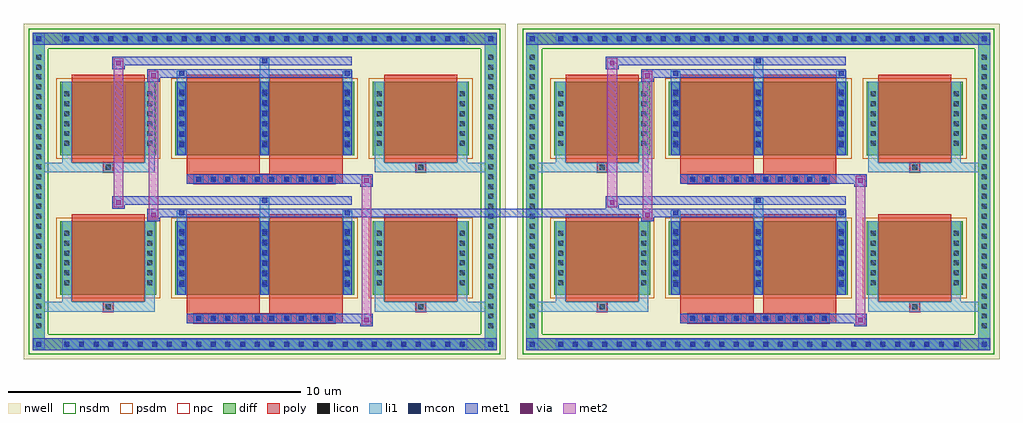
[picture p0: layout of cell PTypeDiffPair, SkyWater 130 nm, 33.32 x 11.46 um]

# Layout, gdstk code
import gdstk
lib = gdstk.Library(unit=1e-6, precision=5e-09)
def R(c, l, rs):  # rectangles x0, y0, x1, y1
    for r in rs: c.add(gdstk.rectangle(r[:2], r[2:], *l))
def A(c, l, x, y, w, h, nx, ny, dx, dy):  # array of equal rectangles
    R(c, l, [(x+i*dx, y+j*dy, x+i*dx+w, y+j*dy+h) for i in range(nx) for j in range(ny)])
def P(c, l, *ps):  # polygons
    for p in ps: c.add(gdstk.Polygon(p, *l))
nwell = (64, 20)
diff = (65, 20)
poly = (66, 20)
licon = (66, 44)
li1 = (67, 20)
mcon = (67, 44)
met1 = (68, 20)
via = (68, 44)
met2 = (69, 20)
nsdm = (93, 44)
psdm = (94, 20)
npc = (95, 20)

unnamed_b625a11a = lib.new_cell('Unnamed_b625a11a')
R(unnamed_b625a11a, nwell, [(-8.23,-5.73,8.23,5.73)])
A(unnamed_b625a11a, diff, -6.955, -5.42, 0.41, 0.41, 28, 2, 0.5, 10.43)
A(unnamed_b625a11a, diff, -7.92, -4.795, 0.41, 0.41, 1, 28, 0, 0.34)
A(unnamed_b625a11a, diff, 7.51, -4.795, 0.41, 0.41, 1, 28, 0, 0.34)
R(unnamed_b625a11a, diff, [(-6.955,-5.42,6.955,-5.01), (-7.92,-4.795,-7.51,4.795), (7.51,-4.795,7.92,4.795), (-6.975,-3.52,-3.695,-1.02), (-3.055,-3.52,3.055,-1.02), (3.695,-3.52,6.975,-1.02), (-6.975,1.24,-3.695,3.74), (-3.055,1.24,3.055,3.74), (3.695,1.24,6.975,3.74), (-6.955,5.01,6.955,5.42)])
P(unnamed_b625a11a, diff, [(7.92,5.42),(-7.92,5.42),(-7.92,-5.01),(-7.51,-5.01),(-7.51,5.01),(7.51,5.01),(7.51,-5.01),(-7.51,-5.01),(-7.92,-5.01),(-7.92,-5.42),(7.92,-5.42)])
A(unnamed_b625a11a, poly, -2.415, -4.5, 0.33, 0.33, 10, 2, 0.5, 4.76)
R(unnamed_b625a11a, poly, [(-2.665,-4.5,2.665,-4.17), (-2.665,-4.17,-0.165,-3.77), (0.165,-4.17,2.665,-3.77), (-5.5,-4.1,-5.17,-3.77), (-5.5,-4.1,-5.17,-3.77), (5.17,-4.1,5.5,-3.77), (5.17,-4.1,5.5,-3.77), (-6.585,-3.77,-4.085,-0.77), (-2.665,-3.77,-0.165,-0.77), (0.165,-3.77,2.665,-0.77), (4.085,-3.77,6.585,-0.77), (-2.665,0.26,2.665,0.59), (-2.665,0.59,-0.165,0.99), (0.165,0.59,2.665,0.99), (-5.5,0.66,-5.17,0.99), (-5.5,0.66,-5.17,0.99), (5.17,0.66,5.5,0.99), (5.17,0.66,5.5,0.99), (-6.585,0.99,-4.085,3.99), (-2.665,0.99,-0.165,3.99), (0.165,0.99,2.665,3.99), (4.085,0.99,6.585,3.99)])
A(unnamed_b625a11a, licon, -6.835, -5.3, 0.17, 0.17, 28, 2, 0.5, 10.43)
A(unnamed_b625a11a, licon, -7.8, -4.675, 0.17, 0.17, 1, 28, 0, 0.34)
A(unnamed_b625a11a, licon, 7.63, -4.675, 0.17, 0.17, 1, 28, 0, 0.34)
A(unnamed_b625a11a, licon, -2.335, -4.42, 0.17, 0.17, 10, 2, 0.5, 4.76)
A(unnamed_b625a11a, licon, -6.835, -3.205, 0.17, 0.17, 1, 6, 0, 0.34)
A(unnamed_b625a11a, licon, -4.005, -3.205, 0.17, 0.17, 1, 6, 0, 0.34)
A(unnamed_b625a11a, licon, -2.915, -3.205, 0.17, 0.17, 3, 6, 2.83, 0.34)
A(unnamed_b625a11a, licon, 3.835, -3.205, 0.17, 0.17, 1, 6, 0, 0.34)
A(unnamed_b625a11a, licon, 6.665, -3.205, 0.17, 0.17, 1, 6, 0, 0.34)
A(unnamed_b625a11a, licon, -6.835, 1.555, 0.17, 0.17, 1, 6, 0, 0.34)
A(unnamed_b625a11a, licon, -4.005, 1.555, 0.17, 0.17, 1, 6, 0, 0.34)
A(unnamed_b625a11a, licon, -2.915, 1.555, 0.17, 0.17, 3, 6, 2.83, 0.34)
A(unnamed_b625a11a, licon, 3.835, 1.555, 0.17, 0.17, 1, 6, 0, 0.34)
A(unnamed_b625a11a, licon, 6.665, 1.555, 0.17, 0.17, 1, 6, 0, 0.34)
R(unnamed_b625a11a, licon, [(-5.42,-4.02,-5.25,-3.85), (5.25,-4.02,5.42,-3.85), (-5.42,0.74,-5.25,0.91), (5.25,0.74,5.42,0.91)])
A(unnamed_b625a11a, li1, -6.915, -5.38, 0.33, 0.33, 28, 2, 0.5, 10.43)
A(unnamed_b625a11a, li1, -7.88, -4.755, 0.33, 0.33, 1, 28, 0, 0.34)
A(unnamed_b625a11a, li1, 7.55, -4.755, 0.33, 0.33, 1, 28, 0, 0.34)
A(unnamed_b625a11a, li1, -2.415, -4.5, 0.33, 0.33, 10, 2, 0.5, 4.76)
A(unnamed_b625a11a, li1, -2.995, -3.52, 0.33, 2.5, 3, 2, 2.83, 4.76)
A(unnamed_b625a11a, li1, -6.915, -3.285, 0.33, 0.33, 1, 6, 0, 0.34)
A(unnamed_b625a11a, li1, -4.085, -3.285, 0.33, 0.33, 1, 6, 0, 0.34)
A(unnamed_b625a11a, li1, -2.995, -3.285, 0.33, 0.33, 3, 6, 2.83, 0.34)
A(unnamed_b625a11a, li1, 3.755, -3.285, 0.33, 0.33, 1, 6, 0, 0.34)
A(unnamed_b625a11a, li1, 6.585, -3.285, 0.33, 0.33, 1, 6, 0, 0.34)
A(unnamed_b625a11a, li1, -2.915, -3.255, 0.17, 0.17, 3, 6, 2.83, 0.36)
A(unnamed_b625a11a, li1, -2.915, -3.255, 0.17, 1.97, 3, 2, 2.83, 4.76)
A(unnamed_b625a11a, li1, -6.915, 1.475, 0.33, 0.33, 1, 6, 0, 0.34)
A(unnamed_b625a11a, li1, -4.085, 1.475, 0.33, 0.33, 1, 6, 0, 0.34)
A(unnamed_b625a11a, li1, -2.995, 1.475, 0.33, 0.33, 3, 6, 2.83, 0.34)
A(unnamed_b625a11a, li1, 3.755, 1.475, 0.33, 0.33, 1, 6, 0, 0.34)
A(unnamed_b625a11a, li1, 6.585, 1.475, 0.33, 0.33, 1, 6, 0, 0.34)
A(unnamed_b625a11a, li1, -2.915, 1.505, 0.17, 0.17, 3, 6, 2.83, 0.36)
R(unnamed_b625a11a, li1, [(-7.92,-5.42,-7.51,-5.01), (7.51,-5.42,7.92,-5.01), (-6.915,-5.38,6.915,-5.05), (-7.8,-5.3,-7.63,-5.13), (-7.8,-5.3,-7.63,-5.13), (7.63,-5.3,7.8,-5.13), (7.63,-5.3,7.8,-5.13), (-7.92,-5.01,-7.51,5.01), (7.51,-5.01,7.92,5.01), (-7.92,-4.1,-5.5,-3.77), (-6.915,-4.1,-5.5,-3.77), (-6.915,-4.1,-6.585,-3.52), (-5.5,-4.1,-5.17,-3.77), (-5.17,-4.1,-3.755,-3.77), (-4.085,-4.1,-3.755,-3.52), (3.755,-4.1,5.17,-3.77), (3.755,-4.1,4.085,-3.52), (5.17,-4.1,5.5,-3.77), (5.17,-4.1,7.92,-3.77), (5.5,-4.1,6.915,-3.77), (6.585,-4.1,6.915,-3.52), (-6.915,-3.52,-6.585,-1.02), (-4.085,-3.52,-3.755,-1.02), (3.755,-3.52,4.085,-1.02), (6.585,-3.52,6.915,-1.02), (-2.995,-1.02,-2.665,-0.645), (-0.165,-1.02,0.165,-0.215), (2.665,-1.02,2.995,-0.645), (-2.915,-0.815,-2.745,-0.645), (2.745,-0.815,2.915,-0.645), (-0.085,-0.385,0.085,-0.215), (-7.92,0.66,-5.5,0.99), (-6.915,0.66,-5.5,0.99), (-6.915,0.66,-6.585,1.24), (-5.5,0.66,-5.17,0.99), (-5.17,0.66,-3.755,0.99), (-4.085,0.66,-3.755,1.24), (3.755,0.66,5.17,0.99), (3.755,0.66,4.085,1.24), (5.17,0.66,5.5,0.99), (5.17,0.66,7.92,0.99), (5.5,0.66,6.915,0.99), (6.585,0.66,6.915,1.24), (-6.915,1.24,-6.585,3.74), (-4.085,1.24,-3.755,3.74), (3.755,1.24,4.085,3.74), (6.585,1.24,6.915,3.74), (-2.995,3.74,-2.665,4.115), (-0.165,3.74,0.165,4.545), (2.665,3.74,2.995,4.115), (-2.915,3.945,-2.745,4.115), (2.745,3.945,2.915,4.115), (-0.085,4.375,0.085,4.545), (-7.92,5.01,-7.51,5.42), (7.51,5.01,7.92,5.42), (-6.915,5.05,6.915,5.38), (-7.8,5.13,-7.63,5.3), (-7.8,5.13,-7.63,5.3), (7.63,5.13,7.8,5.3), (7.63,5.13,7.8,5.3)])
A(unnamed_b625a11a, mcon, -6.835, -5.3, 0.17, 0.17, 28, 2, 0.5, 10.43)
A(unnamed_b625a11a, mcon, -2.335, -4.42, 0.17, 0.17, 10, 2, 0.5, 4.76)
A(unnamed_b625a11a, mcon, -2.915, -3.255, 0.17, 0.17, 3, 6, 2.83, 0.36)
A(unnamed_b625a11a, mcon, -2.915, 1.505, 0.17, 0.17, 3, 6, 2.83, 0.36)
R(unnamed_b625a11a, mcon, [(-7.8,-5.3,-7.63,-5.13), (7.63,-5.3,7.8,-5.13), (-2.915,-0.815,-2.745,-0.645), (2.745,-0.815,2.915,-0.645), (-0.085,-0.385,0.085,-0.215), (-2.915,3.945,-2.745,4.115), (2.745,3.945,2.915,4.115), (-0.085,4.375,0.085,4.545), (-7.8,5.13,-7.63,5.3), (7.63,5.13,7.8,5.3)])
A(unnamed_b625a11a, met1, -6.895, -5.36, 0.29, 0.29, 28, 2, 0.5, 10.43)
A(unnamed_b625a11a, met1, -2.395, -4.48, 0.29, 0.29, 10, 2, 0.5, 4.76)
A(unnamed_b625a11a, met1, -2.975, -3.52, 0.29, 2.5, 3, 2, 2.83, 4.76)
A(unnamed_b625a11a, met1, -2.975, -3.315, 0.29, 0.29, 3, 6, 2.83, 0.36)
A(unnamed_b625a11a, met1, -2.975, 1.445, 0.29, 0.29, 3, 6, 2.83, 0.36)
R(unnamed_b625a11a, met1, [(-7.92,-5.42,-7.51,-5.01), (-7.92,-5.42,-7.51,-5.01), (-7.51,-5.42,7.51,-5.01), (7.51,-5.42,7.92,-5.01), (7.51,-5.42,7.92,-5.01), (-7.86,-5.36,-7.57,-5.07), (7.57,-5.36,7.86,-5.07), (3.265,-4.6,3.695,-4.17), (-2.665,-4.5,2.665,-4.17), (2.665,-4.5,3.695,-4.17), (-4.005,-1.015,-3.575,-0.585), (-4.005,-0.875,-2.975,-0.585), (-2.975,-0.875,-2.685,-0.585), (-2.975,-0.875,2.975,-0.585), (2.685,-0.875,2.975,-0.585), (-5.205,-0.585,-4.775,-0.155), (-5.205,-0.445,-2.975,-0.155), (-2.975,-0.445,2.975,-0.155), (-0.145,-0.445,0.145,-0.155), (3.265,0.16,3.695,0.59), (-2.665,0.26,2.665,0.59), (2.665,0.26,3.695,0.59), (-4.005,3.745,-3.575,4.175), (-4.005,3.885,-2.975,4.175), (-2.975,3.885,-2.685,4.175), (-2.975,3.885,2.975,4.175), (2.685,3.885,2.975,4.175), (-5.205,4.175,-4.775,4.605), (-5.205,4.315,-2.975,4.605), (-2.975,4.315,2.975,4.605), (-0.145,4.315,0.145,4.605), (-7.92,5.01,-7.51,5.42), (-7.92,5.01,-7.51,5.42), (-7.51,5.01,7.51,5.42), (7.51,5.01,7.92,5.42), (7.51,5.01,7.92,5.42), (-7.86,5.07,-7.57,5.36), (7.57,5.07,7.86,5.36)])
R(unnamed_b625a11a, via, [(3.405,-4.46,3.555,-4.31), (-3.865,-0.875,-3.715,-0.725), (-5.065,-0.445,-4.915,-0.295), (3.405,0.3,3.555,0.45), (-3.865,3.885,-3.715,4.035), (-5.065,4.315,-4.915,4.465)])
R(unnamed_b625a11a, met2, [(3.315,-4.55,3.645,-4.22), (3.315,-4.55,3.645,0.54), (-3.955,-0.965,-3.625,-0.635), (-3.955,-0.965,-3.625,4.125), (-5.155,-0.535,-4.825,-0.205), (-5.155,-0.535,-4.825,4.555), (3.315,0.21,3.645,0.54), (-3.955,3.795,-3.625,4.125), (-5.155,4.225,-4.825,4.555)])
P(unnamed_b625a11a, met2, [(3.645,-4.55),(3.645,-4.55),(3.645,-4.22),(3.645,-4.22)],
  [(3.645,0.21),(3.645,0.21),(3.645,0.54),(3.645,0.54)],
  [(-4.825,-0.535),(-4.825,-0.535),(-4.825,-0.205),(-4.825,-0.205)],
  [(-4.825,4.225),(-4.825,4.225),(-4.825,4.555),(-4.825,4.555)],
  [(-3.625,-0.965),(-3.625,-0.965),(-3.625,-0.635),(-3.625,-0.635)],
  [(-3.625,3.795),(-3.625,3.795),(-3.625,4.125),(-3.625,4.125)])
P(unnamed_b625a11a, nsdm, [(8.05,5.55),(-8.05,5.55),(-8.05,-4.88),(-7.38,-4.88),(-7.38,4.88),(7.38,4.88),(7.38,-4.88),(-7.38,-4.88),(-8.05,-4.88),(-8.05,-5.55),(8.05,-5.55)])
R(unnamed_b625a11a, psdm, [(-7.105,-3.65,-3.565,-0.89), (-3.185,-3.65,3.185,-0.89), (3.565,-3.65,7.105,-0.89), (-7.105,1.11,-3.565,3.87), (-3.185,1.11,3.185,3.87), (3.565,1.11,7.105,3.87)])
A(unnamed_b625a11a, npc, -2.435, -4.52, 0.37, 0.37, 10, 2, 0.5, 4.76)
R(unnamed_b625a11a, npc, [(-2.435,-4.52,-1.565,-4.15), (-2.435,-4.52,-1.565,-4.15), (-1.935,-4.52,-1.065,-4.15), (-1.935,-4.52,-1.065,-4.15), (-1.435,-4.52,-0.565,-4.15), (-1.435,-4.52,-0.565,-4.15), (-0.935,-4.52,-0.065,-4.15), (-0.935,-4.52,-0.065,-4.15), (-0.435,-4.52,0.435,-4.15), (-0.435,-4.52,0.435,-4.15), (0.065,-4.52,0.935,-4.15), (0.065,-4.52,0.935,-4.15), (0.565,-4.52,1.435,-4.15), (0.565,-4.52,1.435,-4.15), (1.065,-4.52,1.935,-4.15), (1.065,-4.52,1.935,-4.15), (1.565,-4.52,2.435,-4.15), (1.565,-4.52,2.435,-4.15), (-5.52,-4.12,-5.15,-3.75), (5.15,-4.12,5.52,-3.75), (-2.435,0.24,-1.565,0.61), (-2.435,0.24,-1.565,0.61), (-1.935,0.24,-1.065,0.61), (-1.935,0.24,-1.065,0.61), (-1.435,0.24,-0.565,0.61), (-1.435,0.24,-0.565,0.61), (-0.935,0.24,-0.065,0.61), (-0.935,0.24,-0.065,0.61), (-0.435,0.24,0.435,0.61), (-0.435,0.24,0.435,0.61), (0.065,0.24,0.935,0.61), (0.065,0.24,0.935,0.61), (0.565,0.24,1.435,0.61), (0.565,0.24,1.435,0.61), (1.065,0.24,1.935,0.61), (1.065,0.24,1.935,0.61), (1.565,0.24,2.435,0.61), (1.565,0.24,2.435,0.61), (-5.52,0.64,-5.15,1.01), (5.15,0.64,5.52,1.01)])

unnamed_a7734b28 = lib.new_cell('Unnamed_a7734b28')
R(unnamed_a7734b28, nwell, [(-8.23,-5.73,8.23,5.73)])
A(unnamed_a7734b28, diff, -6.955, -5.42, 0.41, 0.41, 28, 2, 0.5, 10.43)
A(unnamed_a7734b28, diff, -7.92, -4.795, 0.41, 0.41, 1, 28, 0, 0.34)
A(unnamed_a7734b28, diff, 7.51, -4.795, 0.41, 0.41, 1, 28, 0, 0.34)
R(unnamed_a7734b28, diff, [(-6.955,-5.42,6.955,-5.01), (-7.92,-4.795,-7.51,4.795), (7.51,-4.795,7.92,4.795), (-6.975,-3.52,-3.695,-1.02), (-3.055,-3.52,3.055,-1.02), (3.695,-3.52,6.975,-1.02), (-6.975,1.24,-3.695,3.74), (-3.055,1.24,3.055,3.74), (3.695,1.24,6.975,3.74), (-6.955,5.01,6.955,5.42)])
P(unnamed_a7734b28, diff, [(7.92,5.42),(-7.92,5.42),(-7.92,-5.01),(-7.51,-5.01),(-7.51,5.01),(7.51,5.01),(7.51,-5.01),(-7.51,-5.01),(-7.92,-5.01),(-7.92,-5.42),(7.92,-5.42)])
A(unnamed_a7734b28, poly, -2.415, -4.5, 0.33, 0.33, 10, 2, 0.5, 4.76)
R(unnamed_a7734b28, poly, [(-2.665,-4.5,2.665,-4.17), (-2.665,-4.17,-0.165,-3.77), (0.165,-4.17,2.665,-3.77), (-5.5,-4.1,-5.17,-3.77), (-5.5,-4.1,-5.17,-3.77), (5.17,-4.1,5.5,-3.77), (5.17,-4.1,5.5,-3.77), (-6.585,-3.77,-4.085,-0.77), (-2.665,-3.77,-0.165,-0.77), (0.165,-3.77,2.665,-0.77), (4.085,-3.77,6.585,-0.77), (-2.665,0.26,2.665,0.59), (-2.665,0.59,-0.165,0.99), (0.165,0.59,2.665,0.99), (-5.5,0.66,-5.17,0.99), (-5.5,0.66,-5.17,0.99), (5.17,0.66,5.5,0.99), (5.17,0.66,5.5,0.99), (-6.585,0.99,-4.085,3.99), (-2.665,0.99,-0.165,3.99), (0.165,0.99,2.665,3.99), (4.085,0.99,6.585,3.99)])
A(unnamed_a7734b28, licon, -6.835, -5.3, 0.17, 0.17, 28, 2, 0.5, 10.43)
A(unnamed_a7734b28, licon, -7.8, -4.675, 0.17, 0.17, 1, 28, 0, 0.34)
A(unnamed_a7734b28, licon, 7.63, -4.675, 0.17, 0.17, 1, 28, 0, 0.34)
A(unnamed_a7734b28, licon, -2.335, -4.42, 0.17, 0.17, 10, 2, 0.5, 4.76)
A(unnamed_a7734b28, licon, -6.835, -3.205, 0.17, 0.17, 1, 6, 0, 0.34)
A(unnamed_a7734b28, licon, -4.005, -3.205, 0.17, 0.17, 1, 6, 0, 0.34)
A(unnamed_a7734b28, licon, -2.915, -3.205, 0.17, 0.17, 3, 6, 2.83, 0.34)
A(unnamed_a7734b28, licon, 3.835, -3.205, 0.17, 0.17, 1, 6, 0, 0.34)
A(unnamed_a7734b28, licon, 6.665, -3.205, 0.17, 0.17, 1, 6, 0, 0.34)
A(unnamed_a7734b28, licon, -6.835, 1.555, 0.17, 0.17, 1, 6, 0, 0.34)
A(unnamed_a7734b28, licon, -4.005, 1.555, 0.17, 0.17, 1, 6, 0, 0.34)
A(unnamed_a7734b28, licon, -2.915, 1.555, 0.17, 0.17, 3, 6, 2.83, 0.34)
A(unnamed_a7734b28, licon, 3.835, 1.555, 0.17, 0.17, 1, 6, 0, 0.34)
A(unnamed_a7734b28, licon, 6.665, 1.555, 0.17, 0.17, 1, 6, 0, 0.34)
R(unnamed_a7734b28, licon, [(-5.42,-4.02,-5.25,-3.85), (5.25,-4.02,5.42,-3.85), (-5.42,0.74,-5.25,0.91), (5.25,0.74,5.42,0.91)])
A(unnamed_a7734b28, li1, -6.915, -5.38, 0.33, 0.33, 28, 2, 0.5, 10.43)
A(unnamed_a7734b28, li1, -7.88, -4.755, 0.33, 0.33, 1, 28, 0, 0.34)
A(unnamed_a7734b28, li1, 7.55, -4.755, 0.33, 0.33, 1, 28, 0, 0.34)
A(unnamed_a7734b28, li1, -2.415, -4.5, 0.33, 0.33, 10, 2, 0.5, 4.76)
A(unnamed_a7734b28, li1, -2.995, -3.52, 0.33, 2.5, 3, 2, 2.83, 4.76)
A(unnamed_a7734b28, li1, -6.915, -3.285, 0.33, 0.33, 1, 6, 0, 0.34)
A(unnamed_a7734b28, li1, -4.085, -3.285, 0.33, 0.33, 1, 6, 0, 0.34)
A(unnamed_a7734b28, li1, -2.995, -3.285, 0.33, 0.33, 3, 6, 2.83, 0.34)
A(unnamed_a7734b28, li1, 3.755, -3.285, 0.33, 0.33, 1, 6, 0, 0.34)
A(unnamed_a7734b28, li1, 6.585, -3.285, 0.33, 0.33, 1, 6, 0, 0.34)
A(unnamed_a7734b28, li1, -2.915, -3.255, 0.17, 0.17, 3, 6, 2.83, 0.36)
A(unnamed_a7734b28, li1, -2.915, -3.255, 0.17, 1.97, 3, 2, 2.83, 4.76)
A(unnamed_a7734b28, li1, -6.915, 1.475, 0.33, 0.33, 1, 6, 0, 0.34)
A(unnamed_a7734b28, li1, -4.085, 1.475, 0.33, 0.33, 1, 6, 0, 0.34)
A(unnamed_a7734b28, li1, -2.995, 1.475, 0.33, 0.33, 3, 6, 2.83, 0.34)
A(unnamed_a7734b28, li1, 3.755, 1.475, 0.33, 0.33, 1, 6, 0, 0.34)
A(unnamed_a7734b28, li1, 6.585, 1.475, 0.33, 0.33, 1, 6, 0, 0.34)
A(unnamed_a7734b28, li1, -2.915, 1.505, 0.17, 0.17, 3, 6, 2.83, 0.36)
R(unnamed_a7734b28, li1, [(-7.92,-5.42,-7.51,-5.01), (7.51,-5.42,7.92,-5.01), (-6.915,-5.38,6.915,-5.05), (-7.8,-5.3,-7.63,-5.13), (-7.8,-5.3,-7.63,-5.13), (7.63,-5.3,7.8,-5.13), (7.63,-5.3,7.8,-5.13), (-7.92,-5.01,-7.51,5.01), (7.51,-5.01,7.92,5.01), (-7.92,-4.1,-5.5,-3.77), (-6.915,-4.1,-5.5,-3.77), (-6.915,-4.1,-6.585,-3.52), (-5.5,-4.1,-5.17,-3.77), (-5.17,-4.1,-3.755,-3.77), (-4.085,-4.1,-3.755,-3.52), (3.755,-4.1,5.17,-3.77), (3.755,-4.1,4.085,-3.52), (5.17,-4.1,5.5,-3.77), (5.17,-4.1,7.92,-3.77), (5.5,-4.1,6.915,-3.77), (6.585,-4.1,6.915,-3.52), (-6.915,-3.52,-6.585,-1.02), (-4.085,-3.52,-3.755,-1.02), (3.755,-3.52,4.085,-1.02), (6.585,-3.52,6.915,-1.02), (-2.995,-1.02,-2.665,-0.645), (-0.165,-1.02,0.165,-0.215), (2.665,-1.02,2.995,-0.645), (-2.915,-0.815,-2.745,-0.645), (2.745,-0.815,2.915,-0.645), (-0.085,-0.385,0.085,-0.215), (-7.92,0.66,-5.5,0.99), (-6.915,0.66,-5.5,0.99), (-6.915,0.66,-6.585,1.24), (-5.5,0.66,-5.17,0.99), (-5.17,0.66,-3.755,0.99), (-4.085,0.66,-3.755,1.24), (3.755,0.66,5.17,0.99), (3.755,0.66,4.085,1.24), (5.17,0.66,5.5,0.99), (5.17,0.66,7.92,0.99), (5.5,0.66,6.915,0.99), (6.585,0.66,6.915,1.24), (-6.915,1.24,-6.585,3.74), (-4.085,1.24,-3.755,3.74), (3.755,1.24,4.085,3.74), (6.585,1.24,6.915,3.74), (-2.995,3.74,-2.665,4.115), (-0.165,3.74,0.165,4.545), (2.665,3.74,2.995,4.115), (-2.915,3.945,-2.745,4.115), (2.745,3.945,2.915,4.115), (-0.085,4.375,0.085,4.545), (-7.92,5.01,-7.51,5.42), (7.51,5.01,7.92,5.42), (-6.915,5.05,6.915,5.38), (-7.8,5.13,-7.63,5.3), (-7.8,5.13,-7.63,5.3), (7.63,5.13,7.8,5.3), (7.63,5.13,7.8,5.3)])
A(unnamed_a7734b28, mcon, -6.835, -5.3, 0.17, 0.17, 28, 2, 0.5, 10.43)
A(unnamed_a7734b28, mcon, -2.335, -4.42, 0.17, 0.17, 10, 2, 0.5, 4.76)
A(unnamed_a7734b28, mcon, -2.915, -3.255, 0.17, 0.17, 3, 6, 2.83, 0.36)
A(unnamed_a7734b28, mcon, -2.915, 1.505, 0.17, 0.17, 3, 6, 2.83, 0.36)
R(unnamed_a7734b28, mcon, [(-7.8,-5.3,-7.63,-5.13), (7.63,-5.3,7.8,-5.13), (-2.915,-0.815,-2.745,-0.645), (2.745,-0.815,2.915,-0.645), (-0.085,-0.385,0.085,-0.215), (-2.915,3.945,-2.745,4.115), (2.745,3.945,2.915,4.115), (-0.085,4.375,0.085,4.545), (-7.8,5.13,-7.63,5.3), (7.63,5.13,7.8,5.3)])
A(unnamed_a7734b28, met1, -6.895, -5.36, 0.29, 0.29, 28, 2, 0.5, 10.43)
A(unnamed_a7734b28, met1, -2.395, -4.48, 0.29, 0.29, 10, 2, 0.5, 4.76)
A(unnamed_a7734b28, met1, -2.975, -3.52, 0.29, 2.5, 3, 2, 2.83, 4.76)
A(unnamed_a7734b28, met1, -2.975, -3.315, 0.29, 0.29, 3, 6, 2.83, 0.36)
A(unnamed_a7734b28, met1, -2.975, 1.445, 0.29, 0.29, 3, 6, 2.83, 0.36)
R(unnamed_a7734b28, met1, [(-7.92,-5.42,-7.51,-5.01), (-7.92,-5.42,-7.51,-5.01), (-7.51,-5.42,7.51,-5.01), (7.51,-5.42,7.92,-5.01), (7.51,-5.42,7.92,-5.01), (-7.86,-5.36,-7.57,-5.07), (7.57,-5.36,7.86,-5.07), (3.265,-4.6,3.695,-4.17), (-2.665,-4.5,2.665,-4.17), (2.665,-4.5,3.695,-4.17), (-4.005,-1.015,-3.575,-0.585), (-4.005,-0.875,-2.975,-0.585), (-2.975,-0.875,-2.685,-0.585), (-2.975,-0.875,2.975,-0.585), (2.685,-0.875,2.975,-0.585), (-5.205,-0.585,-4.775,-0.155), (-5.205,-0.445,-2.975,-0.155), (-2.975,-0.445,2.975,-0.155), (-0.145,-0.445,0.145,-0.155), (3.265,0.16,3.695,0.59), (-2.665,0.26,2.665,0.59), (2.665,0.26,3.695,0.59), (-4.005,3.745,-3.575,4.175), (-4.005,3.885,-2.975,4.175), (-2.975,3.885,-2.685,4.175), (-2.975,3.885,2.975,4.175), (2.685,3.885,2.975,4.175), (-5.205,4.175,-4.775,4.605), (-5.205,4.315,-2.975,4.605), (-2.975,4.315,2.975,4.605), (-0.145,4.315,0.145,4.605), (-7.92,5.01,-7.51,5.42), (-7.92,5.01,-7.51,5.42), (-7.51,5.01,7.51,5.42), (7.51,5.01,7.92,5.42), (7.51,5.01,7.92,5.42), (-7.86,5.07,-7.57,5.36), (7.57,5.07,7.86,5.36)])
R(unnamed_a7734b28, via, [(3.405,-4.46,3.555,-4.31), (-3.865,-0.875,-3.715,-0.725), (-5.065,-0.445,-4.915,-0.295), (3.405,0.3,3.555,0.45), (-3.865,3.885,-3.715,4.035), (-5.065,4.315,-4.915,4.465)])
R(unnamed_a7734b28, met2, [(3.315,-4.55,3.645,-4.22), (3.315,-4.55,3.645,0.54), (-3.955,-0.965,-3.625,-0.635), (-3.955,-0.965,-3.625,4.125), (-5.155,-0.535,-4.825,-0.205), (-5.155,-0.535,-4.825,4.555), (3.315,0.21,3.645,0.54), (-3.955,3.795,-3.625,4.125), (-5.155,4.225,-4.825,4.555)])
P(unnamed_a7734b28, met2, [(3.645,-4.55),(3.645,-4.55),(3.645,-4.22),(3.645,-4.22)],
  [(3.645,0.21),(3.645,0.21),(3.645,0.54),(3.645,0.54)],
  [(-4.825,-0.535),(-4.825,-0.535),(-4.825,-0.205),(-4.825,-0.205)],
  [(-4.825,4.225),(-4.825,4.225),(-4.825,4.555),(-4.825,4.555)],
  [(-3.625,-0.965),(-3.625,-0.965),(-3.625,-0.635),(-3.625,-0.635)],
  [(-3.625,3.795),(-3.625,3.795),(-3.625,4.125),(-3.625,4.125)])
P(unnamed_a7734b28, nsdm, [(8.05,5.55),(-8.05,5.55),(-8.05,-4.88),(-7.38,-4.88),(-7.38,4.88),(7.38,4.88),(7.38,-4.88),(-7.38,-4.88),(-8.05,-4.88),(-8.05,-5.55),(8.05,-5.55)])
R(unnamed_a7734b28, psdm, [(-7.105,-3.65,-3.565,-0.89), (-3.185,-3.65,3.185,-0.89), (3.565,-3.65,7.105,-0.89), (-7.105,1.11,-3.565,3.87), (-3.185,1.11,3.185,3.87), (3.565,1.11,7.105,3.87)])
A(unnamed_a7734b28, npc, -2.435, -4.52, 0.37, 0.37, 10, 2, 0.5, 4.76)
R(unnamed_a7734b28, npc, [(-2.435,-4.52,-1.565,-4.15), (-2.435,-4.52,-1.565,-4.15), (-1.935,-4.52,-1.065,-4.15), (-1.935,-4.52,-1.065,-4.15), (-1.435,-4.52,-0.565,-4.15), (-1.435,-4.52,-0.565,-4.15), (-0.935,-4.52,-0.065,-4.15), (-0.935,-4.52,-0.065,-4.15), (-0.435,-4.52,0.435,-4.15), (-0.435,-4.52,0.435,-4.15), (0.065,-4.52,0.935,-4.15), (0.065,-4.52,0.935,-4.15), (0.565,-4.52,1.435,-4.15), (0.565,-4.52,1.435,-4.15), (1.065,-4.52,1.935,-4.15), (1.065,-4.52,1.935,-4.15), (1.565,-4.52,2.435,-4.15), (1.565,-4.52,2.435,-4.15), (-5.52,-4.12,-5.15,-3.75), (5.15,-4.12,5.52,-3.75), (-2.435,0.24,-1.565,0.61), (-2.435,0.24,-1.565,0.61), (-1.935,0.24,-1.065,0.61), (-1.935,0.24,-1.065,0.61), (-1.435,0.24,-0.565,0.61), (-1.435,0.24,-0.565,0.61), (-0.935,0.24,-0.065,0.61), (-0.935,0.24,-0.065,0.61), (-0.435,0.24,0.435,0.61), (-0.435,0.24,0.435,0.61), (0.065,0.24,0.935,0.61), (0.065,0.24,0.935,0.61), (0.565,0.24,1.435,0.61), (0.565,0.24,1.435,0.61), (1.065,0.24,1.935,0.61), (1.065,0.24,1.935,0.61), (1.565,0.24,2.435,0.61), (1.565,0.24,2.435,0.61), (-5.52,0.64,-5.15,1.01), (5.15,0.64,5.52,1.01)])

straight_route_141378b5 = lib.new_cell('straight_route_141378b5')
R(straight_route_141378b5, met1, [(-13.885,-0.875,-2.975,-0.585)])

ptypediffpair = lib.new_cell('PTypeDiffPair')
ptypediffpair.add(gdstk.Reference(unnamed_b625a11a, (-16.86,0)))
ptypediffpair.add(gdstk.Reference(unnamed_a7734b28, (0,0)))
ptypediffpair.add(gdstk.Reference(straight_route_141378b5, (0,0)))

lib.write_gds('PTypeDiffPair.gds')
